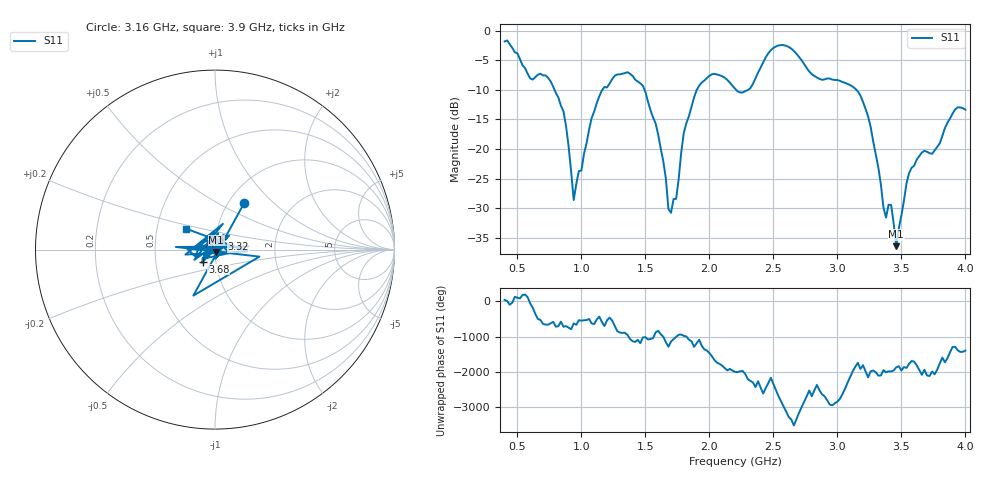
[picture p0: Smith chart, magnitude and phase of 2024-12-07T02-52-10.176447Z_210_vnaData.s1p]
!Created with skrf (http://scikit-rf.org).
# Hz S RI R 50.0
!freq ReS11 ImS11
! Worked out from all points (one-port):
!   181 points, 400 MHz to 4 GHz, reference 50 ohm
!   lowest |S11| = -36.4 dB at 3.46 GHz (marker M1), VSWR 1.03, Z = 50.6 - j1.4 ohm
!   |S11| at or under -10 dB: 790.5 MHz to 1.163 GHz (372.6 MHz wide, 38.1 % of centre); 1.494 GHz to 1.901 GHz (407.4 MHz wide, 24 % of centre); 3.149 GHz to end of sweep (the widest 3 of 4)
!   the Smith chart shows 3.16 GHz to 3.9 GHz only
!   S11 on the Smith chart (normalised r, x): 3.16 GHz: 1.18, +0.68; 3.32 GHz: 1.07, +0.12; 3.68 GHz: 0.86, -0.12; 3.9 GHz: 0.70, +0.17
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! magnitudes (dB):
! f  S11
! 400 MHz  -1.8
! 600 MHz  -8.1
! 740 MHz  -7.9
! 860 MHz  -13.6
! 940 MHz  -28.6
! 1.14 GHz  -11.1
! 1.3 GHz  -7.4
! 1.5 GHz  -10.3
! 1.6 GHz  -17.6
! 1.68 GHz  -30.1
! 1.76 GHz  -25.1
! 1.8 GHz  -17.3
! 1.92 GHz  -9.3
! 2.2 GHz  -9.8
! 2.32 GHz  -9.7
! 2.5 GHz  -2.9
! 2.66 GHz  -3.4
! 3.1 GHz  -9.2
! 3.16 GHz  -10.3
! 3.32 GHz  -23.1
! 3.38 GHz  -31.6
! 3.42 GHz  -29.5
! 3.46 GHz  -36.4
! 3.56 GHz  -24.1
! 3.68 GHz  -20.3
! 3.76 GHz  -20.2
! 3.9 GHz  -14.0
! 4 GHz  -13.3
